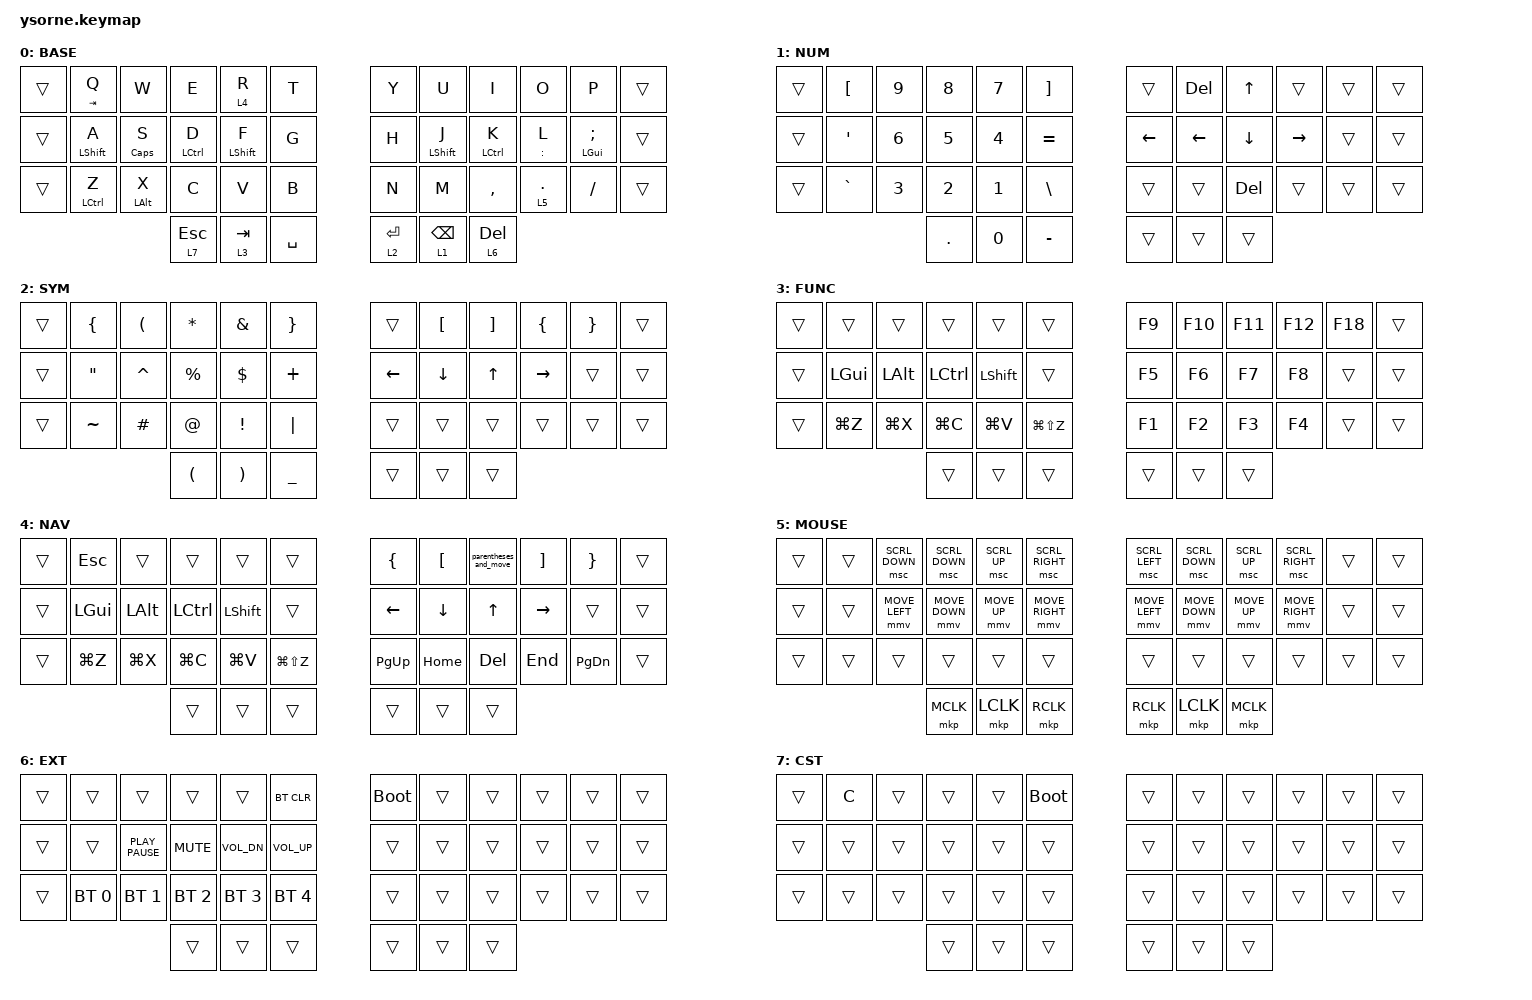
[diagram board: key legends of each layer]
#include <behaviors.dtsi>
#include <dt-bindings/zmk/bt.h>
#include <dt-bindings/zmk/keys.h>
#include <dt-bindings/zmk/pointing.h>

&led_strip {
    chain-length = <0>;

    // chain-length = <27>;
    // 21 backlight + 6 glowlight
};

&nice_view_spi { cs-gpios = <&pro_micro 4 GPIO_ACTIVE_HIGH>; };

#define TAPPING_TERM 200

/ {
    behaviors {
        /*
    * td_lock groups locking functions into one key:
    *  - tap once to lock the host
    *  - tap twice to put the host to sleep
    */

        td_lock: tap_dance_lock {
            compatible = "zmk,behavior-tap-dance";
            label = "TAP_DANCE_LOCK";
            #binding-cells = <0>;
            tapping-term-ms = <TAPPING_TERM>;
            bindings = <&kp LG(LC(Q))>, <&kp LG(LA(C_EJECT))>;
        };

        HRM: HRM {
            compatible = "zmk,behavior-hold-tap";
            label = "HRM";
            bindings = <&kp>, <&kp>;

            #binding-cells = <2>;
            tapping-term-ms = <200>;
            quick-tap-ms = <200>;
            flavor = "tap-preferred";
            hold-trigger-key-positions = <0 1 2 3 4 5 6 7 8 9 10 11 12 13 14 15 16 17 18 19 20 21 22 23 24 25 26 27 28 29 30 31 32 33 34 35 36 37 38 39 40 41>;
            hold-trigger-on-release;
        };

        HMLT: HMLT {
            compatible = "zmk,behavior-hold-tap";
            label = "HMLT";
            bindings = <&mo>, <&kp>;

            #binding-cells = <2>;
            tapping-term-ms = <200>;
            quick-tap-ms = <200>;
            flavor = "tap-preferred";
            hold-trigger-on-release;
            hold-trigger-key-positions = <0 1 2 3 4 5 6 7 8 9 10 11 12 13 14 15 16 17 18 19 20 21 22 23 24 25 26 27 28 29 30 31 32 33 34 35 36 37 38 39 40 41>;
        };
    };

    combos {
        compatible = "zmk,combos";

        Capslock {
            bindings = <&kp CLCK>;
            key-positions = <5 6>;
        };

        ctrl_alt_cmd_p {
            bindings = <&kp LA(LC(LG(P)))>;
            key-positions = <15 16>;
            timeout-ms = <30>;
        };

        f18c {
            bindings = <&kp F18>;
            key-positions = <20 19>;
            timeout-ms = <30>;
        };

        search_key {
            bindings = <&kp LG(LA(LC(F)))>;
            key-positions = <14 16>;
            timeout-ms = <30>;
        };

        scroll_key {
            bindings = <&kp LG(LA(LS(J)))>;
            key-positions = <14 15>;
            timeout-ms = <30>;
        };

        equal_arrow {
            bindings = <&equal_arrow>;
            key-positions = <8 9>;
            timeout-ms = <40>;
        };

        underbar {
            bindings = <&kp UNDERSCORE>;
            key-positions = <20 21>;
        };

        min-arrow {
            bindings = <&minus_arrow>;
            key-positions = <32 33>;
        };

        clbb {
            bindings = <&lbb>;
            key-positions = <7 8>;
        };

        crbb {
            bindings = <&rbb>;
            key-positions = <8 9>;
        };
    };

    macros {
        git_status: git_status {
            compatible = "zmk,behavior-macro";
            #binding-cells = <0>;
            bindings = <&kp G &kp I &kp T &kp SPACE &kp S &kp T &kp A &kp T &kp U &kp S>;
            label = "GIT_STATUS";
        };

        git_commit_all: git_commit_all {
            compatible = "zmk,behavior-macro";
            #binding-cells = <0>;
            bindings = <&kp G &kp I &kp T &kp SPACE &kp C &kp O &kp M &kp M &kp I &kp T &kp SPACE &kp MINUS &kp A &kp MINUS &kp M &kp SPACE &kp DQT &kp DQT &kp LEFT_ARROW>;
            label = "GIT_COMMIT";
        };

        equal_arrow: equal_arrow {
            compatible = "zmk,behavior-macro";
            #binding-cells = <0>;
            bindings = <&kp EQUAL &kp GREATER_THAN>;
            label = "EQUAL_ARROW";
        };

        minus_arrow: minus_arrow {
            compatible = "zmk,behavior-macro";
            #binding-cells = <0>;
            bindings = <&kp MINUS &kp GREATER_THAN>;
            label = "MINUS_ARROW";
        };

        parentheses_and_move: parentheses_and_move {
            compatible = "zmk,behavior-macro";
            #binding-cells = <0>;
            bindings = <&kp LEFT_PARENTHESIS &kp RIGHT_PARENTHESIS>;
            label = "PARENTHESES_AND_MOVE";
        };

        rbb: next_next {
            compatible = "zmk,behavior-macro";
            #binding-cells = <0>;
            bindings = <&kp RIGHT_BRACKET &kp RIGHT_BRACE>;
            label = "NEXT_NEXT";
        };

        lbb: lbb {
            compatible = "zmk,behavior-macro";
            #binding-cells = <0>;
            bindings = <&kp LEFT_BRACKET &kp LEFT_BRACE>;
            label = "LBB";
        };
    };

    keymap {
        compatible = "zmk,keymap";

        base_layer {
            label = "BASE";
            bindings = <
&trans  &HRM TAB Q         &kp W            &kp E           &HMLT 4 R          &kp T        &kp Y          &kp U              &kp I           &kp O         &kp P               &trans
&trans  &HRM LEFT_SHIFT A  &HRM CAPSLOCK S  &HRM LCTRL D    &HRM LEFT_SHIFT F  &kp G        &kp H          &HRM LEFT_SHIFT J  &HRM LCTRL K    &HRM COLON L  &HRM LEFT_GUI SEMI  &trans
&trans  &HRM LCTRL Z       &HRM LEFT_ALT X  &kp C           &kp V              &kp B        &kp N          &kp M              &kp COMMA       &HMLT 5 DOT   &kp SLASH           &trans
                                            &HMLT 7 ESCAPE  &HMLT 3 TAB        &kp SPACE    &HMLT 2 ENTER  &HMLT 1 BACKSPACE  &HMLT 6 DELETE
            >;
        };

        num {
            bindings = <
&trans  &kp LBKT   &kp N9  &kp N8   &kp N7  &kp RBKT     &trans    &kp DELETE      &kp UP_ARROW  &trans     &trans  &trans
&trans  &kp SQT    &kp N6  &kp N5   &kp N4  &kp EQUAL    &kp LEFT  &kp LEFT_ARROW  &kp DOWN      &kp RIGHT  &trans  &trans
&trans  &kp GRAVE  &kp N3  &kp N2   &kp N1  &kp BSLH     &trans    &trans          &kp DELETE    &trans     &trans  &trans
                           &kp DOT  &kp N0  &kp MINUS    &trans    &trans          &trans
            >;

            label = "NUM";
        };

        sym {
            bindings = <
&trans  &kp LBRC   &kp LPAR   &kp STAR   &kp AMPS  &kp RBRC     &trans    &kp LEFT_BRACKET  &kp RIGHT_BRACKET  &kp LEFT_BRACE  &kp RIGHT_BRACE  &trans
&trans  &kp DQT    &kp CARET  &kp PRCNT  &kp DLLR  &kp PLUS     &kp LEFT  &kp DOWN          &kp UP             &kp RIGHT       &trans           &trans
&trans  &kp TILDE  &kp POUND  &kp AT     &kp EXCL  &kp PIPE     &trans    &trans            &trans             &trans          &trans           &trans
                              &kp LPAR   &kp RPAR  &kp UNDER    &trans    &trans            &trans
            >;

            label = "SYM";
        };

        func {
            bindings = <
&trans  &trans        &trans        &trans     &trans      &trans           &kp F9  &kp F10  &kp F11  &kp F12  &kp F18  &trans
&trans  &kp LEFT_GUI  &kp LEFT_ALT  &kp LCTRL  &kp LSHIFT  &trans           &kp F5  &kp F6   &kp F7   &kp F8   &trans   &trans
&trans  &kp LG(Z)     &kp LG(X)     &kp LG(C)  &kp LG(V)   &kp LG(LS(Z))    &kp F1  &kp F2   &kp F3   &kp F4   &trans   &trans
                                    &trans     &trans      &trans           &trans  &trans   &trans
            >;

            label = "FUNC";
        };

        Nav {
            bindings = <
&trans  &kp ESC       &trans        &trans     &trans      &trans           &kp LEFT_BRACE  &kp LEFT_BRACKET  &parentheses_and_move  &kp RIGHT_BRACKET  &kp RIGHT_BRACE  &trans
&trans  &kp LEFT_GUI  &kp LEFT_ALT  &kp LCTRL  &kp LSHIFT  &trans           &kp LEFT        &kp DOWN          &kp UP                 &kp RIGHT          &trans           &trans
&trans  &kp LG(Z)     &kp LG(X)     &kp LG(C)  &kp LG(V)   &kp LG(LS(Z))    &kp PG_UP       &kp HOME          &kp DEL                &kp END            &kp PG_DN        &trans
                                    &trans     &trans      &trans           &trans          &trans            &trans
            >;

            label = "NAV";
        };

        mouse {
            bindings = <
&trans  &trans  &msc SCRL_DOWN  &msc SCRL_DOWN  &msc SCRL_UP  &msc SCRL_RIGHT    &msc SCRL_LEFT  &msc SCRL_DOWN  &msc SCRL_UP  &msc SCRL_RIGHT  &trans  &trans
&trans  &trans  &mmv MOVE_LEFT  &mmv MOVE_DOWN  &mmv MOVE_UP  &mmv MOVE_RIGHT    &mmv MOVE_LEFT  &mmv MOVE_DOWN  &mmv MOVE_UP  &mmv MOVE_RIGHT  &trans  &trans
&trans  &trans  &trans          &trans          &trans        &trans             &trans          &trans          &trans        &trans           &trans  &trans
                                &mkp MCLK       &mkp LCLK     &mkp RCLK          &mkp RCLK       &mkp LCLK       &mkp MCLK
            >;

            label = "MOUSE";
        };

        extended_layer {
            label = "EXT";
            bindings = <
&trans  &trans        &trans            &trans        &trans        &bt BT_CLR      &bootloader  &trans  &trans  &trans  &trans  &trans
&trans  &trans        &kp K_PLAY_PAUSE  &kp K_MUTE    &kp C_VOL_DN  &kp C_VOL_UP    &trans       &trans  &trans  &trans  &trans  &trans
&trans  &bt BT_SEL 0  &bt BT_SEL 1      &bt BT_SEL 2  &bt BT_SEL 3  &bt BT_SEL 4    &trans       &trans  &trans  &trans  &trans  &trans
                                        &trans        &trans        &trans          &trans       &trans  &trans
            >;
        };

        custom {
            bindings = <
&trans  &kp C   &trans  &trans  &trans  &bootloader    &trans  &trans  &trans  &trans  &trans  &trans
&trans  &trans  &trans  &trans  &trans  &trans         &trans  &trans  &trans  &trans  &trans  &trans
&trans  &trans  &trans  &trans  &trans  &trans         &trans  &trans  &trans  &trans  &trans  &trans
                        &trans  &trans  &trans         &trans  &trans  &trans
            >;

            label = "CST";
        };
    };

    conditional_layers {
        compatible = "zmk,conditional-layers";

        Activate_EXT {
            if-layers = <6 6>;
            then-layer = <6>;
        };
    };
};
